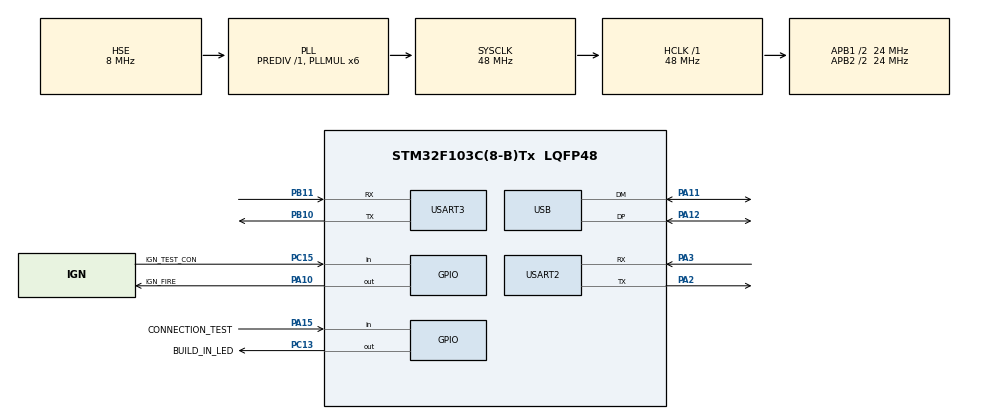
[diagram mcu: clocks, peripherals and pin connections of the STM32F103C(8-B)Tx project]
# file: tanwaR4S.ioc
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Mcu.Family=STM32F1
NVIC.USART3_IRQn=true\:0\:0\:false\:true\:true\:4\:true\:true
NVIC.DMA1_Channel6_IRQn=true\:0\:0\:false\:true\:true\:1\:false\:true
Dma.USART2_TX.1.Priority=DMA_PRIORITY_LOW
PD1-OSC_OUT.Mode=HSE-External-Oscillator
PB10.Mode=Asynchronous
Dma.USART2_TX.1.MemInc=DMA_MINC_ENABLE
Dma.USART2_RX.0.Direction=DMA_PERIPH_TO_MEMORY
PC13-TAMPER-RTC.Signal=GPIO_Output
PA11.Mode=Device
PD0-OSC_IN.Signal=RCC_OSC_IN
RCC.APB1CLKDivider=RCC_HCLK_DIV2
PB11.Signal=USART3_RX
Dma.USART2_TX.1.PeriphDataAlignment=DMA_PDATAALIGN_BYTE
NVIC.USART2_IRQn=true\:0\:0\:false\:true\:true\:3\:true\:true
PC15-OSC32_OUT.GPIO_Label=IGN_TEST_CON
RCC.SYSCLKSource=RCC_SYSCLKSOURCE_PLLCLK
ProjectManager.StackSize=0x400
Dma.USART2_RX.0.Mode=DMA_NORMAL
PD1-OSC_OUT.Signal=RCC_OSC_OUT
RCC.ADCPresc=RCC_ADCPCLK2_DIV4
PA13.Signal=SYS_JTMS-SWDIO
PA3.Mode=Asynchronous
PA15.GPIO_Label=CONNECTION_TEST
PA12.Signal=USB_DP
PB11.Mode=Asynchronous
ProjectManager.TargetToolchain=STM32CubeIDE
Dma.USART2_RX.0.Priority=DMA_PRIORITY_LOW
Dma.USART2_RX.0.PeriphDataAlignment=DMA_PDATAALIGN_BYTE
RCC.HCLKFreq_Value=48000000
RCC.APB2TimFreq_Value=48000000
Dma.USART2_TX.1.Mode=DMA_NORMAL
RCC.USBFreq_Value=48000000
PC15-OSC32_OUT.Signal=GPIO_Input
RCC.AHBFreq_Value=48000000
PD0-OSC_IN.Mode=HSE-External-Oscillator
PB10.Signal=USART3_TX
Dma.USART2_TX.1.PeriphInc=DMA_PINC_DISABLE
board=custom
PC13-TAMPER-RTC.GPIO_Label=BUILD_IN_LED
RCC.PLLMUL=RCC_PLL_MUL6
Dma.USART2_TX.1.Direction=DMA_MEMORY_TO_PERIPH
RCC.APB2Freq_Value=24000000
Dma.USART2_RX.0.MemDataAlignment=DMA_MDATAALIGN_BYTE
PA14.Mode=Serial_Wire
Dma.USART2_TX.1.Instance=DMA1_Channel7
PA10.GPIO_Label=IGN_FIRE
Dma.USART2_RX.0.Instance=DMA1_Channel6
PA13.Mode=Serial_Wire
Mcu.Name=STM32F103C(8-B)Tx
Dma.USART2_RX.0.MemInc=DMA_MINC_ENABLE
PA2.Signal=USART2_TX
RCC.SYSCLKFreq_VALUE=48000000
Mcu.Package=LQFP48
PA12.Mode=Device
Dma.USART2_RX.0.PeriphInc=DMA_PINC_DISABLE
USART2.VirtualMode=VM_ASYNC
USART3.VirtualMode=VM_ASYNC
PA11.Signal=USB_DM
PA10.Signal=GPIO_Output
PA14.Signal=SYS_JTCK-SWCLK
PA15.Signal=GPIO_Input
ProjectManager.HeapSize=0x200
NVIC.PriorityGroup=NVIC_PRIORITYGROUP_4
RCC.APB2CLKDivider=RCC_HCLK_DIV2
Dma.Request1=USART2_TX
RCC.APB1TimFreq_Value=48000000
PA2.Mode=Asynchronous
NVIC.DMA1_Channel7_IRQn=true\:0\:0\:false\:true\:true\:2\:false\:true
Dma.USART2_TX.1.MemDataAlignment=DMA_MDATAALIGN_BYTE
Dma.Request0=USART2_RX
RCC.APB1Freq_Value=24000000
PA3.Signal=USART2_RX

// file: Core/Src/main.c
/* USER CODE BEGIN Header */
/**
  ******************************************************************************
  * @file           : main.c
  * @brief          : Main program body
  ******************************************************************************
  * @attention
  *
  * <h2><center>&copy; Copyright (c) 2021 STMicroelectronics.
  * All rights reserved.</center></h2>
  *
  * This software component is licensed by ST under BSD 3-Clause license,
  * the "License"; You may not use this file except in compliance with the
  * License. You may obtain a copy of the License at:
  *                        opensource.org/licenses/BSD-3-Clause
  *
  ******************************************************************************
  */
/* USER CODE END Header */
#include "main.h"
#include "usart.h"
#include "usb.h"
#include "gpio.h"

/* USER CODE BEGIN Includes */
#include <Bluetooth.h>
#include <Igniter.h>
/* USER CODE END Includes */

/* USER CODE BEGIN PV */
uint8_t state = 0;
/* USER CODE END PV */

void SystemClock_Config(void);

int main(void)
{

  /* MCU Configuration--------------------------------------------------------*/

  /* Reset of all peripherals, Initializes the Flash interface and the Systick. */
  HAL_Init();

  /* Configure the system clock */
  SystemClock_Config();

  /* Initialize all configured peripherals */
  MX_GPIO_Init();
  MX_USART2_UART_Init();
  MX_USB_PCD_Init();
  MX_USART3_UART_Init();
  /* USER CODE BEGIN 2 */

//  HAL_TIM_PWM_Start(&htim1, TIM_CHANNEL_3); test timer

  /* USER CODE END 2 */

  /* Infinite loop */
  /* USER CODE BEGIN WHILE */

///ADDED FOR BLUETOOTH///
 // HAL_GPIO_WritePin(Bluetooth_reset_GPIO_Port, Bluetooth_reset_Pin, SET);//ADDITIONAL PIN PC14 FOR RESET //
  HAL_Delay(1000);

  char* buff;
  memset(buff ,0,sizeof(buff));
  // HAL_TIM_Base_Start_IT(&htim2);
  __HAL_UART_ENABLE_IT(&huart2, UART_IT_RXNE);

  /* USER CODE END 2 */

  /* USER CODE BEGIN WHILE */

  // INIT
  Igniter* Ignit = igniter_init(IGN_FIRE_GPIO_Port, IGN_FIRE_Pin, IGN_TEST_CON_GPIO_Port, IGN_TEST_CON_Pin);

  uint16_t signal = 999; //placeholder, we need to do some signal managing with Michał
  state = 0; //touch only for tests
  while (1)
  {
	  switch(state){
		  case 0: //test state
			  if(igniter_is_connected(Ignit)){
				  HAL_GPIO_TogglePin(BUILD_IN_LED_GPIO_Port, BUILD_IN_LED_Pin);
			  }
			  HAL_Delay(1000);

			  //place for random tests

			  break;
		  case 1:	//IDLE
			  if(signal == 23){  //signal == ready
				  //TODO: send ready
				  state = 2;
			  }
			  break;
		  case 2:	//ARMED(hard)
			  if(igniter_is_connected(Ignit) && signal == 'h'){
			  	  state = 3;
			  }
			  break;
		  case 3:	//ARMED(soft)
			  	  if(signal == 666){		//signal == fire
			  		  igniter_FIRE(Ignit);
			  		  state = 5;
			  	  }
			  	  else if(signal == 89){	//signal == arm
			  		  state = 4;
			  	  }
			  break;
		  case 4:	//ABORT
			  state = 2;
			  break;
		  case 5:	//FLIGHT
			  //TODO: Send "fired" 	//n - times
			  if( ! igniter_is_connected(Ignit)){
				  state = 6;
			  }
			  break;
		  case 6:	//END
			  HAL_Delay(1000000);
			  break;
	  }

  }

    /* USER CODE END WHILE */

}

void SystemClock_Config(void)
{
  RCC_OscInitTypeDef RCC_OscInitStruct = {0};
  RCC_ClkInitTypeDef RCC_ClkInitStruct = {0};
  RCC_PeriphCLKInitTypeDef PeriphClkInit = {0};

  /** Initializes the RCC Oscillators according to the specified parameters
  * in the RCC_OscInitTypeDef structure.
  */
  RCC_OscInitStruct.OscillatorType = RCC_OSCILLATORTYPE_HSE;
  RCC_OscInitStruct.HSEState = RCC_HSE_ON;
  RCC_OscInitStruct.HSEPredivValue = RCC_HSE_PREDIV_DIV1;
  RCC_OscInitStruct.HSIState = RCC_HSI_ON;
  RCC_OscInitStruct.PLL.PLLState = RCC_PLL_ON;
  RCC_OscInitStruct.PLL.PLLSource = RCC_PLLSOURCE_HSE;
  RCC_OscInitStruct.PLL.PLLMUL = RCC_PLL_MUL6;
  if (HAL_RCC_OscConfig(&RCC_OscInitStruct) != HAL_OK)
  {
    Error_Handler();
  }
  /** Initializes the CPU, AHB and APB buses clocks
  */
  RCC_ClkInitStruct.ClockType = RCC_CLOCKTYPE_HCLK|RCC_CLOCKTYPE_SYSCLK
                              |RCC_CLOCKTYPE_PCLK1|RCC_CLOCKTYPE_PCLK2;
  RCC_ClkInitStruct.SYSCLKSource = RCC_SYSCLKSOURCE_PLLCLK;
  RCC_ClkInitStruct.AHBCLKDivider = RCC_SYSCLK_DIV1;
  RCC_ClkInitStruct.APB1CLKDivider = RCC_HCLK_DIV2;
  RCC_ClkInitStruct.APB2CLKDivider = RCC_HCLK_DIV2;

  if (HAL_RCC_ClockConfig(&RCC_ClkInitStruct, FLASH_LATENCY_1) != HAL_OK)
  {
    Error_Handler();
  }
  PeriphClkInit.PeriphClockSelection = RCC_PERIPHCLK_USB;
  PeriphClkInit.UsbClockSelection = RCC_USBCLKSOURCE_PLL;
  if (HAL_RCCEx_PeriphCLKConfig(&PeriphClkInit) != HAL_OK)
  {
    Error_Handler();
  }
}

void Error_Handler(void)
{
  __disable_irq();
  while (1)
  {
  }
}

/************************ (C) COPYRIGHT STMicroelectronics *****END OF FILE****/
